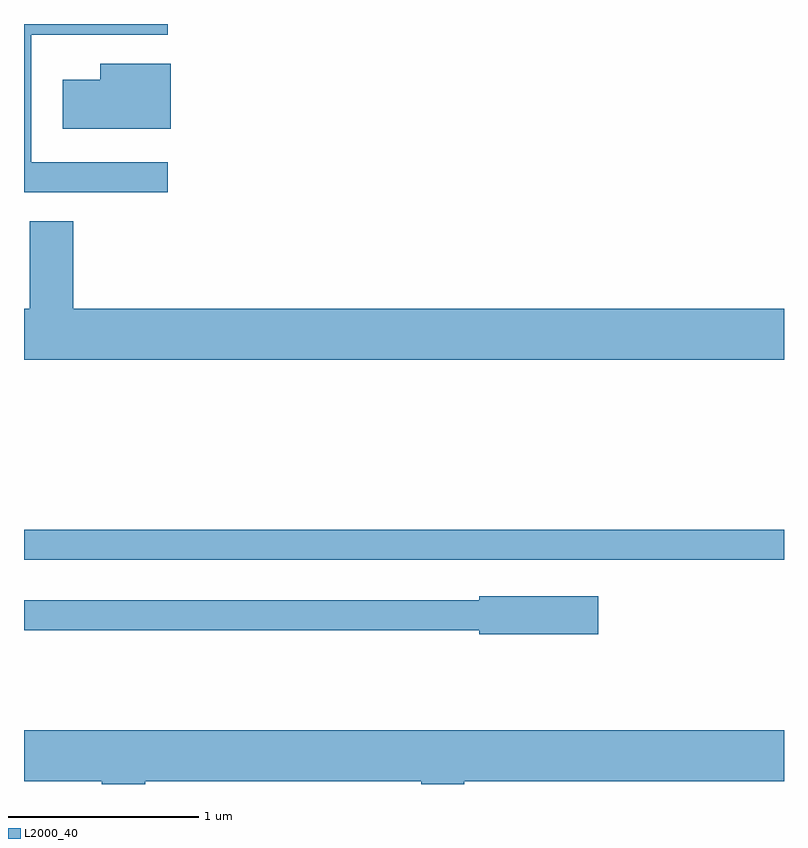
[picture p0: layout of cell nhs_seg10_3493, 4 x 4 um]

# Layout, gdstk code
import gdstk
lib = gdstk.Library(unit=1e-6, precision=1e-09)
def R(c, l, rs):  # rectangles x0, y0, x1, y1
    for r in rs: c.add(gdstk.rectangle(r[:2], r[2:], *l))
def P(c, l, *ps):  # polygons
    for p in ps: c.add(gdstk.Polygon(p, *l))
L2000_40 = (2000, 40)

nhs_seg10_3493 = lib.new_cell('nhs_seg10_3493')
R(nhs_seg10_3493, L2000_40, [(287.611,2161.701,291.611,2161.859)])
P(nhs_seg10_3493, L2000_40, [(288.368,2163.794),(287.649,2163.794),(287.649,2164.466),(288.368,2164.466),(288.368,2164.522),(287.611,2164.522),(287.611,2163.636),(288.368,2163.636)],
  [(288.384,2164.314),(288.011,2164.314),(288.011,2164.229),(287.816,2164.229),(287.816,2163.971),(288.384,2163.971)],
  [(291.611,2163.024),(287.869,2163.024),(287.869,2163.484),(287.641,2163.484),(287.641,2163.024),(287.611,2163.024),(287.611,2162.756),(291.611,2162.756)],
  [(290.634,2161.509),(290.006,2161.509),(290.006,2161.489),(287.611,2161.489),(287.611,2161.331),(290.006,2161.331),(290.006,2161.311),(290.634,2161.311)],
  [(287.611,2160.536),(288.021,2160.536),(288.021,2160.522),(288.249,2160.522),(288.249,2160.536),(289.701,2160.536),(289.701,2160.522),(289.929,2160.522),(289.929,2160.536),(291.611,2160.536),(291.611,2160.804),(287.611,2160.804)])

lib.write_gds('nhs_seg10_3493.gds')
